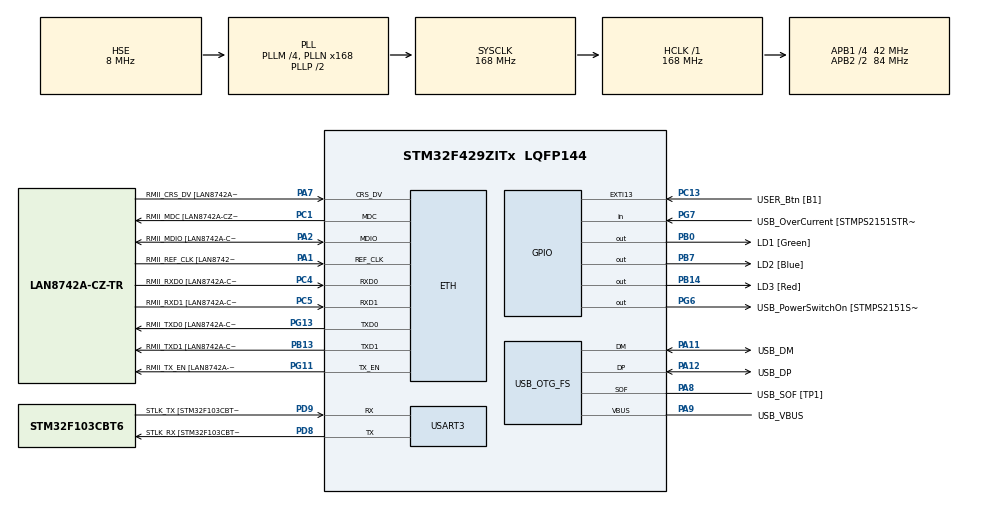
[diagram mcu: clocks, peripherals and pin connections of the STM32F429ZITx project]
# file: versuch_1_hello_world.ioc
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ETH.MediaInterface=HAL_ETH_RMII_MODE
ETH.PHY_Name=LAN8742A_PHY_ADDRESS
ETH.PHY_Value=0
ETH.PhyAddress=0
Mcu.Family=STM32F4
Mcu.Name=STM32F429ZITx
Mcu.Package=LQFP144
NVIC.PriorityGroup=NVIC_PRIORITYGROUP_4
PA1.GPIO_Label=RMII_REF_CLK [LAN8742A-CZ-TR_REFCLK0]
PA1.Mode=RMII
PA1.Signal=ETH_REF_CLK
PA10.GPIO_Label=USB_ID
PA10.Signal=USB_OTG_FS_ID
PA11.GPIO_Label=USB_DM
PA11.Mode=Device_Only
PA11.Signal=USB_OTG_FS_DM
PA12.GPIO_Label=USB_DP
PA12.Mode=Device_Only
PA12.Signal=USB_OTG_FS_DP
PA13.GPIO_Label=TMS
PA13.Mode=Serial_Wire
PA13.Signal=SYS_JTMS-SWDIO
PA14.GPIO_Label=TCK
PA14.Mode=Serial_Wire
PA14.Signal=SYS_JTCK-SWCLK
PA2.GPIO_Label=RMII_MDIO [LAN8742A-CZ-TR_MDIO]
PA2.Mode=RMII
PA2.Signal=ETH_MDIO
PA7.GPIO_Label=RMII_CRS_DV [LAN8742A-CZ-TR_CRS_DV]
PA7.Mode=RMII
PA7.Signal=ETH_CRS_DV
PA8.GPIO_Label=USB_SOF [TP1]
PA8.Mode=Activate_SOF_FS
PA8.Signal=USB_OTG_FS_SOF
PA9.GPIO_Label=USB_VBUS
PA9.Mode=Activate_VBUS
PA9.Signal=USB_OTG_FS_VBUS
PB0.GPIO_Label=LD1 [Green]
PB0.Signal=GPIO_Output
PB13.GPIO_Label=RMII_TXD1 [LAN8742A-CZ-TR_TXD1]
PB13.Mode=RMII
PB13.Signal=ETH_TXD1
PB14.GPIO_Label=LD3 [Red]
PB14.Signal=GPIO_Output
PB7.GPIO_Label=LD2 [Blue]
PB7.Signal=GPIO_Output
PC1.GPIO_Label=RMII_MDC [LAN8742A-CZ-TR_MDC]
PC1.Mode=RMII
PC1.Signal=ETH_MDC
PC13.GPIO_Label=USER_Btn [B1]
PC13.Signal=GPXTI13
PC14/OSC32_IN.Mode=LSE-External-Oscillator
PC14/OSC32_IN.Signal=RCC_OSC32_IN
PC15/OSC32_OUT.Mode=LSE-External-Oscillator
PC15/OSC32_OUT.Signal=RCC_OSC32_OUT
PC4.GPIO_Label=RMII_RXD0 [LAN8742A-CZ-TR_RXD0]
PC4.Mode=RMII
PC4.Signal=ETH_RXD0
PC5.GPIO_Label=RMII_RXD1 [LAN8742A-CZ-TR_RXD1]
PC5.Mode=RMII
PC5.Signal=ETH_RXD1
PD8.GPIO_Label=STLK_RX [STM32F103CBT6_PA3]
PD8.Mode=Asynchronous
PD8.Signal=USART3_TX
PD9.GPIO_Label=STLK_TX [STM32F103CBT6_PA2]
PD9.Mode=Asynchronous
PD9.Signal=USART3_RX
PG11.GPIO_Label=RMII_TX_EN [LAN8742A-CZ-TR_TXEN]
PG11.Mode=RMII
PG11.Signal=ETH_TX_EN
PG13.GPIO_Label=RMII_TXD0 [LAN8742A-CZ-TR_TXD0]
PG13.Mode=RMII
PG13.Signal=ETH_TXD0
PG6.GPIO_Label=USB_PowerSwitchOn [STMPS2151STR_EN]
PG6.Signal=GPIO_Output
PG7.GPIO_Label=USB_OverCurrent [STMPS2151STR_FAULT]
PG7.Signal=GPIO_Input
PH0/OSC_IN.GPIO_Label=MCO [STM32F103CBT6_PA8]
PH0/OSC_IN.Mode=HSE-External-Clock-Source
PH0/OSC_IN.Signal=RCC_OSC_IN
PH1/OSC_OUT.Mode=HSE-External-Clock-Source
PH1/OSC_OUT.Signal=RCC_OSC_OUT
ProjectManager.HeapSize=0x200
ProjectManager.StackSize=0x400
ProjectManager.TargetToolchain=STM32CubeIDE
RCC.48MHZClocksFreq_Value=48000000
RCC.AHBFreq_Value=168000000
RCC.APB1CLKDivider=RCC_HCLK_DIV4
RCC.APB1Freq_Value=42000000
RCC.APB1TimFreq_Value=84000000
RCC.APB2CLKDivider=RCC_HCLK_DIV2
RCC.APB2Freq_Value=84000000
RCC.APB2TimCLKDivider=2
RCC.APB2TimFreq_Value=168000000
RCC.CortexFreq_Value=168000000
RCC.HCLKFreq_Value=168000000
RCC.HSE_VALUE=8000000
RCC.HSI_VALUE=16000000
RCC.PLLM=4
RCC.PLLMUL=RCC_PLL_MUL9
RCC.PLLN=168
RCC.PLLQ=7
RCC.PRESCALERUSB=RCC_USBCLKSOURCE_PLL_DIV1_5
RCC.SYSCLKFreq_VALUE=168000000
RCC.SYSCLKSource=RCC_SYSCLKSOURCE_PLLCLK
RCC.SYSCLKSourceVirtual=RCC_SYSCLKSOURCE_PLLCLK
RCC.USBFreq_Value=48000000
RCC.VCOOutputFreq_Value=336000000
USART3.VirtualMode=VM_ASYNC
USB_OTG_FS.VirtualMode=Device_Only
board=NUCLEO-F429ZI

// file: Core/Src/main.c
/* USER CODE BEGIN Header */
/**
  ******************************************************************************
  * @file           : main.c
  * @brief          : Main program body
  ******************************************************************************
  * @attention
  *
  * Copyright (c) 2023 STMicroelectronics.
  * All rights reserved.
  *
  * This software is licensed under terms that can be found in the LICENSE file
  * in the root directory of this software component.
  * If no LICENSE file comes with this software, it is provided AS-IS.
  *
  ******************************************************************************
  */
/* USER CODE END Header */
#include "main.h"
#include "string.h"

ETH_TxPacketConfig TxConfig;
ETH_DMADescTypeDef  DMARxDscrTab[ETH_RX_DESC_CNT]; /* Ethernet Rx DMA Descriptors */
ETH_DMADescTypeDef  DMATxDscrTab[ETH_TX_DESC_CNT]; /* Ethernet Tx DMA Descriptors */

ETH_HandleTypeDef heth;

UART_HandleTypeDef huart3;

PCD_HandleTypeDef hpcd_USB_OTG_FS;

void SystemClock_Config(void);
static void MX_GPIO_Init(void);
static void MX_ETH_Init(void);
static void MX_USART3_UART_Init(void);
static void MX_USB_OTG_FS_PCD_Init(void);

/* USER CODE BEGIN 0 */

//Aufgabe 2.1 Hilfsvariable
uint8_t systemClock;

//Aufgabe 2.5
uint8_t value = 0;
char msg[32];

uint8_t aktuellerzustand;

/* USER CODE END 0 */

int main(void)
{

  /* MCU Configuration--------------------------------------------------------*/

  /* Reset of all peripherals, Initializes the Flash interface and the Systick. */
  HAL_Init();

  /* Configure the system clock */
  SystemClock_Config();

  /* Initialize all configured peripherals */
  MX_GPIO_Init();
  MX_ETH_Init();
  MX_USART3_UART_Init();
  MX_USB_OTG_FS_PCD_Init();

  /* Infinite loop */
  /* USER CODE BEGIN WHILE */
  while(1){

	  //Aufgabe 1.5

	  //HAL_GPIO_WritePin(LD1_GPIO_Port, LD1_Pin, 1);

	  //Aufgabe 2.1

	  //HAL_Delay(500); //500 ms = 2 hz
	  //HAL_GPIO_TogglePin(LD1_GPIO_Port,LD1_Pin);

	  //systemClock = HAL_GetTick();

/*
	  systemClock = 10;
	  sprintf(msg, "systemClock: %3u\r\n", systemClock);
	  HAL_UART_Transmit(&huart3, msg, strlen(msg), HAL_MAX_DELAY);
	  HAL_Delay(100);

*/

	  //Aufgabe 2.2
/*
	  HAL_GPIO_WritePin(LD1_GPIO_Port,LD1_Pin, GPIO_PIN_RESET);
	  HAL_GPIO_WritePin(LD2_GPIO_Port,LD2_Pin, GPIO_PIN_RESET);
	  HAL_GPIO_WritePin(LD3_GPIO_Port,LD3_Pin, GPIO_PIN_RESET);

	  HAL_Delay(500); //500 ms = 2 hz
	  HAL_GPIO_TogglePin(LD1_GPIO_Port,LD1_Pin);
	  HAL_Delay(500);
	  HAL_GPIO_TogglePin(LD1_GPIO_Port,LD1_Pin);
	  HAL_Delay(500); //500 ms = 2 hz
	  HAL_GPIO_TogglePin(LD2_GPIO_Port,LD2_Pin);
	  HAL_Delay(500);
	  HAL_GPIO_TogglePin(LD2_GPIO_Port,LD2_Pin);
	  HAL_Delay(500); //500 ms = 2 hz
	  HAL_GPIO_TogglePin(LD3_GPIO_Port,LD3_Pin);
	  HAL_Delay(500);
	  HAL_GPIO_TogglePin(LD3_GPIO_Port,LD3_Pin);*/

	  //Aufgabe 2.3 & 2.4

	  GPIO_TypeDef* gpioPeripheral_array[3] = {LD1_GPIO_Port, LD2_GPIO_Port, LD3_GPIO_Port};
	  GPIO_TypeDef* current_gpioPeripheral;

      uint16_t pin_array[3] = {LD1_Pin, LD2_Pin, LD3_Pin};
      uint16_t current_pin; //PB0 = LD1, PB7 = LD2, PB14 = LD3

	  for(int i=0;i<3;i++){
		if(!HAL_GPIO_ReadPin(GPIOC, GPIO_PIN_13)){
		  	HAL_Delay(250); //500 ms = 2 hz
		  	HAL_GPIO_TogglePin(gpioPeripheral_array[i],pin_array[i]);
		  	HAL_Delay(250);
		  	HAL_GPIO_TogglePin(gpioPeripheral_array[i],pin_array[i]);

		  	aktuellerzustand = HAL_GPIO_ReadPin(GPIOC, GPIO_PIN_13);
		 }else{
		  	continue;
		 }

	  }

/*
	  if(!HAL_GPIO_ReadPin(GPIOC, GPIO_PIN_13)){
		  HAL_Delay(250); //500 ms = 2 hz
		  HAL_GPIO_TogglePin(LD1_GPIO_Port,LD1_Pin);
		  HAL_Delay(250);
		  HAL_GPIO_TogglePin(LD1_GPIO_Port,LD1_Pin);

		  aktuellerzustand = HAL_GPIO_ReadPin(GPIOC, GPIO_PIN_13);
	  }else{
		  continue;
	  }
	  if(!HAL_GPIO_ReadPin(GPIOC, GPIO_PIN_13)){
		  HAL_Delay(250); //500 ms = 2 hz
		  HAL_GPIO_TogglePin(LD2_GPIO_Port,LD2_Pin);
		  HAL_Delay(250);
		  HAL_GPIO_TogglePin(LD2_GPIO_Port,LD2_Pin);

		  aktuellerzustand = HAL_GPIO_ReadPin(GPIOC, GPIO_PIN_13);
	  }else{
		  continue;
	  }
	  if(!HAL_GPIO_ReadPin(GPIOC, GPIO_PIN_13)){
		  HAL_Delay(250); //500 ms = 2 hz
		  HAL_GPIO_TogglePin(LD3_GPIO_Port,LD3_Pin);
		  HAL_Delay(250);
		  HAL_GPIO_TogglePin(LD3_GPIO_Port,LD3_Pin);

		  aktuellerzustand = HAL_GPIO_ReadPin(GPIOC, GPIO_PIN_13);
	  }else{
		  continue;
	  }
*/

	  //Aufgabe 2.5
	  value = 20;
	  sprintf(msg, "Value: %3u\r\n", value);
	  HAL_UART_Transmit(&huart3, msg, strlen(msg), HAL_MAX_DELAY);
	  HAL_Delay(100);

    /* USER CODE END WHILE */

  }
}

void SystemClock_Config(void)
{
  RCC_OscInitTypeDef RCC_OscInitStruct = {0};
  RCC_ClkInitTypeDef RCC_ClkInitStruct = {0};

  /** Configure the main internal regulator output voltage
  */
  __HAL_RCC_PWR_CLK_ENABLE();
  __HAL_PWR_VOLTAGESCALING_CONFIG(PWR_REGULATOR_VOLTAGE_SCALE1);

  /** Initializes the RCC Oscillators according to the specified parameters
  * in the RCC_OscInitTypeDef structure.
  */
  RCC_OscInitStruct.OscillatorType = RCC_OSCILLATORTYPE_HSE;
  RCC_OscInitStruct.HSEState = RCC_HSE_BYPASS;
  RCC_OscInitStruct.PLL.PLLState = RCC_PLL_ON;
  RCC_OscInitStruct.PLL.PLLSource = RCC_PLLSOURCE_HSE;
  RCC_OscInitStruct.PLL.PLLM = 4;
  RCC_OscInitStruct.PLL.PLLN = 168;
  RCC_OscInitStruct.PLL.PLLP = RCC_PLLP_DIV2;
  RCC_OscInitStruct.PLL.PLLQ = 7;
  if (HAL_RCC_OscConfig(&RCC_OscInitStruct) != HAL_OK)
  {
    Error_Handler();
  }

  /** Initializes the CPU, AHB and APB buses clocks
  */
  RCC_ClkInitStruct.ClockType = RCC_CLOCKTYPE_HCLK|RCC_CLOCKTYPE_SYSCLK
                              |RCC_CLOCKTYPE_PCLK1|RCC_CLOCKTYPE_PCLK2;
  RCC_ClkInitStruct.SYSCLKSource = RCC_SYSCLKSOURCE_PLLCLK;
  RCC_ClkInitStruct.AHBCLKDivider = RCC_SYSCLK_DIV1;
  RCC_ClkInitStruct.APB1CLKDivider = RCC_HCLK_DIV4;
  RCC_ClkInitStruct.APB2CLKDivider = RCC_HCLK_DIV2;

  if (HAL_RCC_ClockConfig(&RCC_ClkInitStruct, FLASH_LATENCY_5) != HAL_OK)
  {
    Error_Handler();
  }
}

static void MX_ETH_Init(void)
{

   static uint8_t MACAddr[6];

  heth.Instance = ETH;
  MACAddr[0] = 0x00;
  MACAddr[1] = 0x80;
  MACAddr[2] = 0xE1;
  MACAddr[3] = 0x00;
  MACAddr[4] = 0x00;
  MACAddr[5] = 0x00;
  heth.Init.MACAddr = &MACAddr[0];
  heth.Init.MediaInterface = HAL_ETH_RMII_MODE;
  heth.Init.TxDesc = DMATxDscrTab;
  heth.Init.RxDesc = DMARxDscrTab;
  heth.Init.RxBuffLen = 1524;

  if (HAL_ETH_Init(&heth) != HAL_OK)
  {
    Error_Handler();
  }

  memset(&TxConfig, 0 , sizeof(ETH_TxPacketConfig));
  TxConfig.Attributes = ETH_TX_PACKETS_FEATURES_CSUM | ETH_TX_PACKETS_FEATURES_CRCPAD;
  TxConfig.ChecksumCtrl = ETH_CHECKSUM_IPHDR_PAYLOAD_INSERT_PHDR_CALC;
  TxConfig.CRCPadCtrl = ETH_CRC_PAD_INSERT;

}

static void MX_USART3_UART_Init(void)
{

  huart3.Instance = USART3;
  huart3.Init.BaudRate = 115200;
  huart3.Init.WordLength = UART_WORDLENGTH_8B;
  huart3.Init.StopBits = UART_STOPBITS_1;
  huart3.Init.Parity = UART_PARITY_NONE;
  huart3.Init.Mode = UART_MODE_TX_RX;
  huart3.Init.HwFlowCtl = UART_HWCONTROL_NONE;
  huart3.Init.OverSampling = UART_OVERSAMPLING_16;
  if (HAL_UART_Init(&huart3) != HAL_OK)
  {
    Error_Handler();
  }

}

static void MX_USB_OTG_FS_PCD_Init(void)
{

  hpcd_USB_OTG_FS.Instance = USB_OTG_FS;
  hpcd_USB_OTG_FS.Init.dev_endpoints = 4;
  hpcd_USB_OTG_FS.Init.speed = PCD_SPEED_FULL;
  hpcd_USB_OTG_FS.Init.dma_enable = DISABLE;
  hpcd_USB_OTG_FS.Init.phy_itface = PCD_PHY_EMBEDDED;
  hpcd_USB_OTG_FS.Init.Sof_enable = ENABLE;
  hpcd_USB_OTG_FS.Init.low_power_enable = DISABLE;
  hpcd_USB_OTG_FS.Init.lpm_enable = DISABLE;
  hpcd_USB_OTG_FS.Init.vbus_sensing_enable = ENABLE;
  hpcd_USB_OTG_FS.Init.use_dedicated_ep1 = DISABLE;
  if (HAL_PCD_Init(&hpcd_USB_OTG_FS) != HAL_OK)
  {
    Error_Handler();
  }

}

static void MX_GPIO_Init(void)
{
  GPIO_InitTypeDef GPIO_InitStruct = {0};

  /* GPIO Ports Clock Enable */
  __HAL_RCC_GPIOC_CLK_ENABLE();
  __HAL_RCC_GPIOH_CLK_ENABLE();
  __HAL_RCC_GPIOA_CLK_ENABLE();
  __HAL_RCC_GPIOB_CLK_ENABLE();
  __HAL_RCC_GPIOD_CLK_ENABLE();
  __HAL_RCC_GPIOG_CLK_ENABLE();

  /*Configure GPIO pin Output Level */
  HAL_GPIO_WritePin(GPIOB, LD1_Pin|LD3_Pin|LD2_Pin, GPIO_PIN_RESET);

  /*Configure GPIO pin Output Level */
  HAL_GPIO_WritePin(USB_PowerSwitchOn_GPIO_Port, USB_PowerSwitchOn_Pin, GPIO_PIN_RESET);

  /*Configure GPIO pin : USER_Btn_Pin */
  GPIO_InitStruct.Pin = USER_Btn_Pin;
  GPIO_InitStruct.Mode = GPIO_MODE_IT_RISING;
  GPIO_InitStruct.Pull = GPIO_NOPULL;
  HAL_GPIO_Init(USER_Btn_GPIO_Port, &GPIO_InitStruct);

  /*Configure GPIO pins : LD1_Pin LD3_Pin LD2_Pin */
  GPIO_InitStruct.Pin = LD1_Pin|LD3_Pin|LD2_Pin;
  GPIO_InitStruct.Mode = GPIO_MODE_OUTPUT_PP;
  GPIO_InitStruct.Pull = GPIO_NOPULL;
  GPIO_InitStruct.Speed = GPIO_SPEED_FREQ_LOW;
  HAL_GPIO_Init(GPIOB, &GPIO_InitStruct);

  /*Configure GPIO pin : USB_PowerSwitchOn_Pin */
  GPIO_InitStruct.Pin = USB_PowerSwitchOn_Pin;
  GPIO_InitStruct.Mode = GPIO_MODE_OUTPUT_PP;
  GPIO_InitStruct.Pull = GPIO_NOPULL;
  GPIO_InitStruct.Speed = GPIO_SPEED_FREQ_LOW;
  HAL_GPIO_Init(USB_PowerSwitchOn_GPIO_Port, &GPIO_InitStruct);

  /*Configure GPIO pin : USB_OverCurrent_Pin */
  GPIO_InitStruct.Pin = USB_OverCurrent_Pin;
  GPIO_InitStruct.Mode = GPIO_MODE_INPUT;
  GPIO_InitStruct.Pull = GPIO_NOPULL;
  HAL_GPIO_Init(USB_OverCurrent_GPIO_Port, &GPIO_InitStruct);

}

void Error_Handler(void)
{
  __disable_irq();
  while (1)
  {
  }
}
